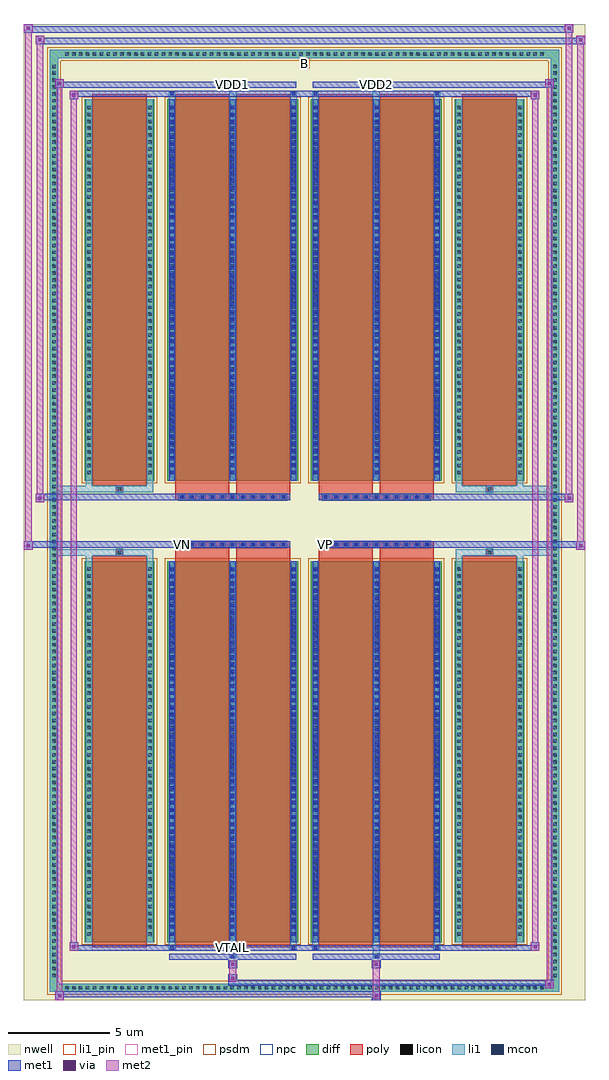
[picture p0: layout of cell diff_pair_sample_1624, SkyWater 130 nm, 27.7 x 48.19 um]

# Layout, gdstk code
import gdstk
lib = gdstk.Library(unit=1e-6, precision=5e-09)
def R(c, l, rs):  # rectangles x0, y0, x1, y1
    for r in rs: c.add(gdstk.rectangle(r[:2], r[2:], *l))
def A(c, l, x, y, w, h, nx, ny, dx, dy):  # array of equal rectangles
    R(c, l, [(x+i*dx, y+j*dy, x+i*dx+w, y+j*dy+h) for i in range(nx) for j in range(ny)])
def P(c, l, *ps):  # polygons
    for p in ps: c.add(gdstk.Polygon(p, *l))
nwell = (64, 20)
diff = (65, 20)
poly = (66, 20)
licon = (66, 44)
li1_pin = (67, 16)
li1 = (67, 20)
mcon = (67, 44)
met1_pin = (68, 16)
met1 = (68, 20)
via = (68, 44)
met2 = (69, 20)
psdm = (94, 20)
npc = (95, 20)

diff_pair_sample_1624 = lib.new_cell('diff_pair_sample_1624')
R(diff_pair_sample_1624, nwell, [(-13.85,-23.66,13.85,24.53), (-11.17,-21.85,-0.01,-0.805), (0.01,-21.85,11.17,-0.805), (-11.17,0.805,-0.01,21.85), (0.01,0.805,11.17,21.85)])
A(diff_pair_sample_1624, diff, -11.935, -23.26, 0.41, 0.41, 70, 2, 0.34, 46.11)
A(diff_pair_sample_1624, diff, -12.58, -22.645, 0.41, 0.41, 1, 133, 0, 0.34)
A(diff_pair_sample_1624, diff, 12.17, -22.645, 0.41, 0.41, 1, 133, 0, 0.34)
R(diff_pair_sample_1624, diff, [(-11.935,-23.26,11.935,-22.85), (-12.58,-22.645,-12.17,22.645), (12.17,-22.645,12.58,22.645), (-10.86,-20.805,-7.41,-1.985), (-6.77,-20.805,-0.32,-1.985), (0.32,-20.805,6.77,-1.985), (7.41,-20.805,10.86,-1.985), (-10.86,1.985,-7.41,20.805), (-6.77,1.985,-0.32,20.805), (0.32,1.985,6.77,20.805), (7.41,1.985,10.86,20.805), (-11.935,22.85,11.935,23.26)])
P(diff_pair_sample_1624, diff, [(12.58,23.26),(-12.58,23.26),(-12.58,-22.85),(-12.17,-22.85),(-12.17,22.85),(12.17,22.85),(12.17,-22.85),(-12.17,-22.85),(-12.58,-22.85),(-12.58,-23.26),(12.58,-23.26)])
A(diff_pair_sample_1624, poly, -6.21, -1.335, 0.33, 0.33, 11, 2, 0.5, 2.34)
A(diff_pair_sample_1624, poly, 0.88, -1.335, 0.33, 0.33, 11, 2, 0.5, 2.34)
R(diff_pair_sample_1624, poly, [(-10.47,-21.055,-7.8,-1.735), (-6.38,-21.055,-3.71,-1.735), (-3.38,-21.055,-0.71,-1.735), (0.71,-21.055,3.38,-1.735), (3.71,-21.055,6.38,-1.735), (7.8,-21.055,10.47,-1.735), (-9.3,-1.735,-8.97,-1.405), (-9.3,-1.735,-8.97,-1.405), (-6.38,-1.735,-3.71,-1.335), (-3.38,-1.735,-0.71,-1.335), (0.71,-1.735,3.38,-1.335), (3.71,-1.735,6.38,-1.335), (8.97,-1.735,9.3,-1.405), (8.97,-1.735,9.3,-1.405), (-6.38,-1.335,-0.71,-1.005), (0.71,-1.335,6.38,-1.005), (-6.38,1.005,-0.71,1.335), (0.71,1.005,6.38,1.335), (-6.38,1.335,-3.71,1.735), (-3.38,1.335,-0.71,1.735), (0.71,1.335,3.38,1.735), (3.71,1.335,6.38,1.735), (-9.3,1.405,-8.97,1.735), (-9.3,1.405,-8.97,1.735), (8.97,1.405,9.3,1.735), (8.97,1.405,9.3,1.735), (-10.47,1.735,-7.8,21.055), (-6.38,1.735,-3.71,21.055), (-3.38,1.735,-0.71,21.055), (0.71,1.735,3.38,21.055), (3.71,1.735,6.38,21.055), (7.8,1.735,10.47,21.055)])
A(diff_pair_sample_1624, licon, -11.815, -23.14, 0.17, 0.17, 70, 2, 0.34, 46.11)
A(diff_pair_sample_1624, licon, -12.46, -22.525, 0.17, 0.17, 1, 133, 0, 0.34)
A(diff_pair_sample_1624, licon, 12.29, -22.525, 0.17, 0.17, 1, 133, 0, 0.34)
A(diff_pair_sample_1624, licon, -10.72, -20.49, 0.17, 0.17, 1, 54, 0, 0.34)
A(diff_pair_sample_1624, licon, -7.72, -20.49, 0.17, 0.17, 1, 54, 0, 0.34)
A(diff_pair_sample_1624, licon, -6.63, -20.49, 0.17, 0.17, 3, 54, 3, 0.34)
A(diff_pair_sample_1624, licon, 0.46, -20.49, 0.17, 0.17, 3, 54, 3, 0.34)
A(diff_pair_sample_1624, licon, 7.55, -20.49, 0.17, 0.17, 1, 54, 0, 0.34)
A(diff_pair_sample_1624, licon, 10.55, -20.49, 0.17, 0.17, 1, 54, 0, 0.34)
A(diff_pair_sample_1624, licon, -6.13, -1.255, 0.17, 0.17, 11, 2, 0.5, 2.34)
A(diff_pair_sample_1624, licon, 0.96, -1.255, 0.17, 0.17, 11, 2, 0.5, 2.34)
A(diff_pair_sample_1624, licon, -10.72, 2.3, 0.17, 0.17, 1, 54, 0, 0.34)
A(diff_pair_sample_1624, licon, -7.72, 2.3, 0.17, 0.17, 1, 54, 0, 0.34)
A(diff_pair_sample_1624, licon, -6.63, 2.3, 0.17, 0.17, 3, 54, 3, 0.34)
A(diff_pair_sample_1624, licon, 0.46, 2.3, 0.17, 0.17, 3, 54, 3, 0.34)
A(diff_pair_sample_1624, licon, 7.55, 2.3, 0.17, 0.17, 1, 54, 0, 0.34)
A(diff_pair_sample_1624, licon, 10.55, 2.3, 0.17, 0.17, 1, 54, 0, 0.34)
R(diff_pair_sample_1624, licon, [(-9.22,-1.655,-9.05,-1.485), (9.05,-1.655,9.22,-1.485), (-9.22,1.485,-9.05,1.655), (9.05,1.485,9.22,1.655)])
R(diff_pair_sample_1624, li1_pin, [(-0.25,22.35,0.25,22.85)])
A(diff_pair_sample_1624, li1, -11.895, -23.22, 0.33, 0.33, 70, 2, 0.34, 46.11)
A(diff_pair_sample_1624, li1, -12.54, -22.605, 0.33, 0.33, 1, 133, 0, 0.34)
A(diff_pair_sample_1624, li1, 12.21, -22.605, 0.33, 0.33, 1, 133, 0, 0.34)
A(diff_pair_sample_1624, li1, -6.71, -20.805, 0.33, 18.82, 3, 2, 3, 22.79)
A(diff_pair_sample_1624, li1, 0.38, -20.805, 0.33, 18.82, 3, 2, 3, 22.79)
A(diff_pair_sample_1624, li1, -10.8, -20.57, 0.33, 0.33, 1, 54, 0, 0.34)
A(diff_pair_sample_1624, li1, -7.8, -20.57, 0.33, 0.33, 1, 54, 0, 0.34)
A(diff_pair_sample_1624, li1, -6.71, -20.57, 0.33, 0.33, 3, 54, 3, 0.34)
A(diff_pair_sample_1624, li1, 0.38, -20.57, 0.33, 0.33, 3, 54, 3, 0.34)
A(diff_pair_sample_1624, li1, 7.47, -20.57, 0.33, 0.33, 1, 54, 0, 0.34)
A(diff_pair_sample_1624, li1, 10.47, -20.57, 0.33, 0.33, 1, 54, 0, 0.34)
A(diff_pair_sample_1624, li1, -6.63, -20.48, 0.17, 0.17, 3, 51, 3, 0.36)
A(diff_pair_sample_1624, li1, -6.63, -20.48, 0.17, 18.17, 3, 2, 3, 22.79)
A(diff_pair_sample_1624, li1, 0.46, -20.48, 0.17, 0.17, 3, 51, 3, 0.36)
A(diff_pair_sample_1624, li1, 0.46, -20.48, 0.17, 18.17, 3, 2, 3, 22.79)
A(diff_pair_sample_1624, li1, -6.21, -1.335, 0.33, 0.33, 11, 2, 0.5, 2.34)
A(diff_pair_sample_1624, li1, 0.88, -1.335, 0.33, 0.33, 11, 2, 0.5, 2.34)
A(diff_pair_sample_1624, li1, -10.8, 2.22, 0.33, 0.33, 1, 54, 0, 0.34)
A(diff_pair_sample_1624, li1, -7.8, 2.22, 0.33, 0.33, 1, 54, 0, 0.34)
A(diff_pair_sample_1624, li1, -6.71, 2.22, 0.33, 0.33, 3, 54, 3, 0.34)
A(diff_pair_sample_1624, li1, 0.38, 2.22, 0.33, 0.33, 3, 54, 3, 0.34)
A(diff_pair_sample_1624, li1, 7.47, 2.22, 0.33, 0.33, 1, 54, 0, 0.34)
A(diff_pair_sample_1624, li1, 10.47, 2.22, 0.33, 0.33, 1, 54, 0, 0.34)
A(diff_pair_sample_1624, li1, -6.63, 2.31, 0.17, 0.17, 3, 51, 3, 0.36)
A(diff_pair_sample_1624, li1, 0.46, 2.31, 0.17, 0.17, 3, 51, 3, 0.36)
R(diff_pair_sample_1624, li1, [(-12.58,-23.26,-12.17,-22.85), (-12.58,-23.26,-12.17,-22.85), (-12.17,-23.26,12.17,-22.85), (12.17,-23.26,12.58,-22.85), (12.17,-23.26,12.58,-22.85), (-12.58,-22.85,-12.17,22.85), (12.17,-22.85,12.58,22.85), (-3.71,-21.61,-3.38,-20.805), (-3.63,-21.61,-3.46,-21.44), (3.38,-21.61,3.71,-20.805), (3.46,-21.61,3.63,-21.44), (-6.71,-21.18,-6.38,-20.805), (-6.63,-21.18,-6.46,-21.01), (-0.71,-21.18,-0.38,-20.805), (-0.63,-21.18,-0.46,-21.01), (0.38,-21.18,0.71,-20.805), (0.46,-21.18,0.63,-21.01), (6.38,-21.18,6.71,-20.805), (6.46,-21.18,6.63,-21.01), (-10.8,-20.805,-10.47,-1.985), (-7.8,-20.805,-7.47,-1.985), (7.47,-20.805,7.8,-1.985), (10.47,-20.805,10.8,-1.985), (-10.8,-1.985,-10.47,-1.405), (-7.8,-1.985,-7.47,-1.405), (7.47,-1.985,7.8,-1.405), (10.47,-1.985,10.8,-1.405), (-12.58,-1.735,-9.3,-1.405), (-10.8,-1.735,-9.3,-1.405), (-9.3,-1.735,-8.97,-1.405), (-8.97,-1.735,-7.47,-1.405), (7.47,-1.735,8.97,-1.405), (8.97,-1.735,9.3,-1.405), (8.97,-1.735,12.58,-1.405), (9.3,-1.735,10.8,-1.405), (-12.58,1.405,-9.3,1.735), (-10.8,1.405,-9.3,1.735), (-10.8,1.405,-10.47,1.985), (-9.3,1.405,-8.97,1.735), (-8.97,1.405,-7.47,1.735), (-7.8,1.405,-7.47,1.985), (7.47,1.405,8.97,1.735), (7.47,1.405,7.8,1.985), (8.97,1.405,9.3,1.735), (8.97,1.405,12.58,1.735), (9.3,1.405,10.8,1.735), (10.47,1.405,10.8,1.985), (-10.8,1.985,-10.47,20.805), (-7.8,1.985,-7.47,20.805), (7.47,1.985,7.8,20.805), (10.47,1.985,10.8,20.805), (-6.71,20.805,-6.38,21.18), (-3.71,20.805,-3.38,21.61), (-0.71,20.805,-0.38,21.18), (0.38,20.805,0.71,21.18), (3.38,20.805,3.71,21.61), (6.38,20.805,6.71,21.18), (-6.63,21.01,-6.46,21.18), (-0.63,21.01,-0.46,21.18), (0.46,21.01,0.63,21.18), (6.46,21.01,6.63,21.18), (-3.63,21.44,-3.46,21.61), (3.46,21.44,3.63,21.61), (-12.58,22.85,-12.17,23.26), (-12.58,22.85,-12.17,23.26), (-12.17,22.85,12.17,23.26), (12.17,22.85,12.58,23.26), (12.17,22.85,12.58,23.26)])
A(diff_pair_sample_1624, mcon, -6.63, -20.48, 0.17, 0.17, 3, 51, 3, 0.36)
A(diff_pair_sample_1624, mcon, 0.46, -20.48, 0.17, 0.17, 3, 51, 3, 0.36)
A(diff_pair_sample_1624, mcon, -6.13, -1.255, 0.17, 0.17, 11, 2, 0.5, 2.34)
A(diff_pair_sample_1624, mcon, 0.96, -1.255, 0.17, 0.17, 11, 2, 0.5, 2.34)
A(diff_pair_sample_1624, mcon, -6.63, 2.31, 0.17, 0.17, 3, 51, 3, 0.36)
A(diff_pair_sample_1624, mcon, 0.46, 2.31, 0.17, 0.17, 3, 51, 3, 0.36)
R(diff_pair_sample_1624, mcon, [(-3.63,-21.61,-3.46,-21.44), (3.46,-21.61,3.63,-21.44), (-6.63,-21.18,-6.46,-21.01), (-0.63,-21.18,-0.46,-21.01), (0.46,-21.18,0.63,-21.01), (6.46,-21.18,6.63,-21.01), (-6.63,21.01,-6.46,21.18), (-0.63,21.01,-0.46,21.18), (0.46,21.01,0.63,21.18), (6.46,21.01,6.63,21.18), (-3.63,21.44,-3.46,21.61), (3.46,21.44,3.63,21.61)])
R(diff_pair_sample_1624, met1_pin, [(-3.68,-21.22,-3.41,-20.95), (-6.18,-1.295,-5.91,-1.025), (0.91,-1.295,1.18,-1.025), (-3.68,21.4,-3.41,21.67), (3.41,21.4,3.68,21.67)])
A(diff_pair_sample_1624, met1, -6.69, -20.805, 0.29, 18.82, 3, 2, 3, 22.79)
A(diff_pair_sample_1624, met1, 0.4, -20.805, 0.29, 18.82, 3, 2, 3, 22.79)
A(diff_pair_sample_1624, met1, -6.69, -20.54, 0.29, 0.29, 3, 51, 3, 0.36)
A(diff_pair_sample_1624, met1, 0.4, -20.54, 0.29, 0.29, 3, 51, 3, 0.36)
A(diff_pair_sample_1624, met1, -6.19, -1.315, 0.29, 0.29, 11, 2, 0.5, 2.34)
A(diff_pair_sample_1624, met1, 0.9, -1.315, 0.29, 0.29, 11, 2, 0.5, 2.34)
A(diff_pair_sample_1624, met1, -6.69, 2.25, 0.29, 0.29, 3, 51, 3, 0.36)
A(diff_pair_sample_1624, met1, 0.4, 2.25, 0.29, 0.29, 3, 51, 3, 0.36)
R(diff_pair_sample_1624, met1, [(-12.31,-23.66,-11.88,-23.23), (3.33,-23.66,3.76,-23.23), (-12.31,-23.52,3.76,-23.23), (11.88,-23.09,12.31,-22.66), (-3.76,-22.95,12.31,-22.66), (-3.76,-22.81,-3.33,-22.38), (-3.76,-22.1,-3.33,-21.67), (3.33,-22.1,3.76,-21.67), (-6.69,-21.67,-0.4,-21.38), (-3.69,-21.67,-3.4,-21.38), (0.4,-21.67,6.69,-21.38), (3.4,-21.67,3.69,-21.38), (-11.6,-21.24,-11.17,-20.81), (-11.6,-21.24,-6.69,-20.95), (-6.69,-21.24,-6.4,-20.95), (-6.69,-21.24,-0.4,-20.95), (-0.69,-21.24,-0.4,-20.95), (-0.4,-21.24,0.4,-20.95), (0.4,-21.24,0.69,-20.95), (0.4,-21.24,6.69,-20.95), (6.4,-21.24,6.69,-20.95), (6.69,-21.24,11.6,-20.95), (11.17,-21.24,11.6,-20.81), (-13.85,-1.435,-13.42,-1.005), (13.42,-1.435,13.85,-1.005), (-13.85,-1.335,-0.71,-1.005), (-6.38,-1.335,-0.71,-1.005), (0.71,-1.335,6.38,-1.005), (0.71,-1.335,13.85,-1.005), (-13.28,0.905,-12.85,1.335), (12.85,0.905,13.28,1.335), (-13.28,1.005,-6.38,1.335), (-6.38,1.005,-0.71,1.335), (0.71,1.005,6.38,1.335), (6.38,1.005,13.28,1.335), (-11.6,20.81,-11.17,21.24), (11.17,20.81,11.6,21.24), (-11.6,20.95,-6.69,21.24), (-6.69,20.95,-6.4,21.24), (-6.69,20.95,-0.4,21.24), (-0.69,20.95,-0.4,21.24), (-0.4,20.95,0.4,21.24), (0.4,20.95,0.69,21.24), (0.4,20.95,6.69,21.24), (6.4,20.95,6.69,21.24), (6.69,20.95,11.6,21.24), (-12.31,21.38,-11.88,21.81), (-12.31,21.38,-6.69,21.67), (-6.69,21.38,-0.4,21.67), (-3.69,21.38,-3.4,21.67), (0.4,21.38,6.69,21.67), (3.4,21.38,3.69,21.67), (6.69,21.38,12.31,21.67), (11.88,21.38,12.31,21.81), (-13.28,23.53,-12.85,23.96), (-13.28,23.53,-11.17,23.86), (-11.17,23.53,11.17,23.86), (11.17,23.53,13.85,23.86), (13.42,23.53,13.85,23.96), (-13.85,24.1,-13.42,24.53), (-13.85,24.1,-11.17,24.43), (-11.17,24.1,11.17,24.43), (11.17,24.1,13.28,24.43), (12.85,24.1,13.28,24.53)])
R(diff_pair_sample_1624, via, [(-12.17,-23.52,-12.02,-23.37), (3.47,-23.52,3.62,-23.37), (12.02,-22.95,12.17,-22.8), (-3.62,-22.67,-3.47,-22.52), (-3.62,-21.96,-3.47,-21.81), (3.47,-21.96,3.62,-21.81), (-11.46,-21.1,-11.31,-20.95), (11.31,-21.1,11.46,-20.95), (-13.71,-1.295,-13.56,-1.145), (13.56,-1.295,13.71,-1.145), (-13.14,1.045,-12.99,1.195), (12.99,1.045,13.14,1.195), (-11.46,20.95,-11.31,21.1), (11.31,20.95,11.46,21.1), (-12.17,21.52,-12.02,21.67), (12.02,21.52,12.17,21.67), (-13.14,23.67,-12.99,23.82), (13.56,23.67,13.71,23.82), (-13.71,24.24,-13.56,24.39), (12.99,24.24,13.14,24.39)])
R(diff_pair_sample_1624, met2, [(-12.31,-23.66,-11.88,-23.23), (-12.24,-23.66,-11.95,21.81), (-11.95,-23.66,-11.88,-23.23), (-12.26,-23.61,-11.93,-23.28), (3.38,-23.61,3.71,-23.28), (3.38,-23.28,3.71,-22.05), (11.88,-23.09,12.31,-22.66), (11.95,-23.09,12.24,21.81), (12.24,-23.09,12.31,-22.66), (11.93,-23.04,12.26,-22.71), (-3.71,-22.76,-3.38,-22.43), (-3.71,-22.43,-3.38,-22.05), (-3.71,-22.05,-3.38,-21.72), (3.38,-22.05,3.71,-21.72), (-11.6,-21.24,-11.17,-20.81), (-11.53,-21.24,-11.24,21.24), (-11.24,-21.24,-11.17,-20.81), (11.17,-21.24,11.6,-20.81), (11.24,-21.24,11.53,21.24), (11.53,-21.24,11.6,-20.81), (-11.55,-21.19,-11.22,-20.86), (11.22,-21.19,11.55,-20.86), (-13.85,-1.435,-13.42,-1.005), (-13.8,-1.435,-13.47,24.53), (-13.47,-1.435,-13.42,-1.005), (13.42,-1.435,13.85,-1.005), (13.47,-1.435,13.8,23.96), (13.8,-1.435,13.85,-1.005), (-13.8,-1.385,-13.47,-1.055), (13.47,-1.385,13.8,-1.055), (-13.28,0.905,-12.85,1.335), (-13.23,0.905,-12.9,23.96), (-12.9,0.905,-12.85,1.335), (12.85,0.905,13.28,1.335), (12.9,0.905,13.23,24.53), (13.23,0.905,13.28,1.335), (-13.23,0.955,-12.9,1.285), (12.9,0.955,13.23,1.285), (-11.6,20.81,-11.17,21.24), (-11.24,20.81,-11.17,21.24), (11.17,20.81,11.6,21.24), (11.53,20.81,11.6,21.24), (-11.55,20.86,-11.22,21.19), (11.22,20.86,11.55,21.19), (-12.31,21.38,-11.88,21.81), (-11.95,21.38,-11.88,21.81), (11.88,21.38,12.31,21.81), (12.24,21.38,12.31,21.81), (-12.26,21.43,-11.93,21.76), (11.93,21.43,12.26,21.76), (-13.28,23.53,-12.85,23.96), (-12.9,23.53,-12.85,23.96), (13.42,23.53,13.85,23.96), (13.8,23.53,13.85,23.96), (-13.23,23.58,-12.9,23.91), (13.47,23.58,13.8,23.91), (-13.85,24.1,-13.42,24.53), (-13.47,24.1,-13.42,24.53), (12.85,24.1,13.28,24.53), (13.23,24.1,13.28,24.53), (-13.8,24.15,-13.47,24.48), (12.9,24.15,13.23,24.48)])
R(diff_pair_sample_1624, psdm, [(-10.99,-20.935,-7.28,-1.855), (-6.9,-20.935,-0.19,-1.855), (0.19,-20.935,6.9,-1.855), (7.28,-20.935,10.99,-1.855), (-10.99,1.855,-7.28,20.935), (-6.9,1.855,-0.19,20.935), (0.19,1.855,6.9,20.935), (7.28,1.855,10.99,20.935)])
P(diff_pair_sample_1624, psdm, [(12.71,23.39),(-12.71,23.39),(-12.71,-22.72),(-12.04,-22.72),(-12.04,22.72),(12.04,22.72),(12.04,-22.72),(-12.04,-22.72),(-12.71,-22.72),(-12.71,-23.39),(12.71,-23.39)])
A(diff_pair_sample_1624, npc, -6.23, -1.355, 0.37, 0.37, 11, 2, 0.5, 2.34)
A(diff_pair_sample_1624, npc, 0.86, -1.355, 0.37, 0.37, 11, 2, 0.5, 2.34)
R(diff_pair_sample_1624, npc, [(-9.32,-1.755,-8.95,-1.385), (8.95,-1.755,9.32,-1.385), (-6.23,-1.355,-5.36,-0.985), (-6.23,-1.355,-5.36,-0.985), (-5.73,-1.355,-4.86,-0.985), (-5.73,-1.355,-4.86,-0.985), (-5.23,-1.355,-4.36,-0.985), (-5.23,-1.355,-4.36,-0.985), (-4.73,-1.355,-3.86,-0.985), (-4.73,-1.355,-3.86,-0.985), (-4.23,-1.355,-3.36,-0.985), (-4.23,-1.355,-3.36,-0.985), (-3.73,-1.355,-2.86,-0.985), (-3.73,-1.355,-2.86,-0.985), (-3.23,-1.355,-2.36,-0.985), (-3.23,-1.355,-2.36,-0.985), (-2.73,-1.355,-1.86,-0.985), (-2.73,-1.355,-1.86,-0.985), (-2.23,-1.355,-1.36,-0.985), (-2.23,-1.355,-1.36,-0.985), (-1.73,-1.355,-0.86,-0.985), (-1.73,-1.355,-0.86,-0.985), (0.86,-1.355,1.73,-0.985), (0.86,-1.355,1.73,-0.985), (1.36,-1.355,2.23,-0.985), (1.36,-1.355,2.23,-0.985), (1.86,-1.355,2.73,-0.985), (1.86,-1.355,2.73,-0.985), (2.36,-1.355,3.23,-0.985), (2.36,-1.355,3.23,-0.985), (2.86,-1.355,3.73,-0.985), (2.86,-1.355,3.73,-0.985), (3.36,-1.355,4.23,-0.985), (3.36,-1.355,4.23,-0.985), (3.86,-1.355,4.73,-0.985), (3.86,-1.355,4.73,-0.985), (4.36,-1.355,5.23,-0.985), (4.36,-1.355,5.23,-0.985), (4.86,-1.355,5.73,-0.985), (4.86,-1.355,5.73,-0.985), (5.36,-1.355,6.23,-0.985), (5.36,-1.355,6.23,-0.985), (-6.23,0.985,-5.36,1.355), (-6.23,0.985,-5.36,1.355), (-5.73,0.985,-4.86,1.355), (-5.73,0.985,-4.86,1.355), (-5.23,0.985,-4.36,1.355), (-5.23,0.985,-4.36,1.355), (-4.73,0.985,-3.86,1.355), (-4.73,0.985,-3.86,1.355), (-4.23,0.985,-3.36,1.355), (-4.23,0.985,-3.36,1.355), (-3.73,0.985,-2.86,1.355), (-3.73,0.985,-2.86,1.355), (-3.23,0.985,-2.36,1.355), (-3.23,0.985,-2.36,1.355), (-2.73,0.985,-1.86,1.355), (-2.73,0.985,-1.86,1.355), (-2.23,0.985,-1.36,1.355), (-2.23,0.985,-1.36,1.355), (-1.73,0.985,-0.86,1.355), (-1.73,0.985,-0.86,1.355), (0.86,0.985,1.73,1.355), (0.86,0.985,1.73,1.355), (1.36,0.985,2.23,1.355), (1.36,0.985,2.23,1.355), (1.86,0.985,2.73,1.355), (1.86,0.985,2.73,1.355), (2.36,0.985,3.23,1.355), (2.36,0.985,3.23,1.355), (2.86,0.985,3.73,1.355), (2.86,0.985,3.73,1.355), (3.36,0.985,4.23,1.355), (3.36,0.985,4.23,1.355), (3.86,0.985,4.73,1.355), (3.86,0.985,4.73,1.355), (4.36,0.985,5.23,1.355), (4.36,0.985,5.23,1.355), (4.86,0.985,5.73,1.355), (4.86,0.985,5.73,1.355), (5.36,0.985,6.23,1.355), (5.36,0.985,6.23,1.355), (-9.32,1.385,-8.95,1.755), (8.95,1.385,9.32,1.755)])
diff_pair_sample_1624.add(gdstk.Label('VTAIL', (-3.545,-21.085), layer=68, texttype=5))
diff_pair_sample_1624.add(gdstk.Label('VN', (-6.045,-1.16), layer=68, texttype=5))
diff_pair_sample_1624.add(gdstk.Label('VP', (1.045,-1.16), layer=68, texttype=5))
diff_pair_sample_1624.add(gdstk.Label('B', (0,22.6), layer=67, texttype=5))
diff_pair_sample_1624.add(gdstk.Label('VDD2', (3.545,21.535), layer=68, texttype=5))
diff_pair_sample_1624.add(gdstk.Label('VDD1', (-3.545,21.535), layer=68, texttype=5))

lib.write_gds('diff_pair_sample_1624.gds')
